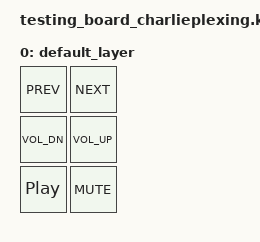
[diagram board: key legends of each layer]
#include <behaviors.dtsi>
#include <dt-bindings/zmk/keys.h>

/ {
    keymap {
        compatible = "zmk,keymap";

        default_layer {
            //    ┌──────────────────┐
            //    │  ┌────────────┐  │
            //    │  │ Seeed XIAO │  │
            //    │  │  nRF52840  │  │
            //    │  └────────────┘  │
            //    │                  │
            //    │                  │
            //    │   [1]      [2]   │
            //    │                  │
            //    │   [3]      [4]   │
            //    │                  │
            //    │   [5]      [6]   │
            //    │                  │
            //    └──────────────────┘

            bindings = <
&kp C_PREV        &kp C_NEXT
&kp C_VOL_DN      &kp C_VOL_UP
&kp C_PLAY_PAUSE  &kp C_MUTE
            >;
        };
    };
};
